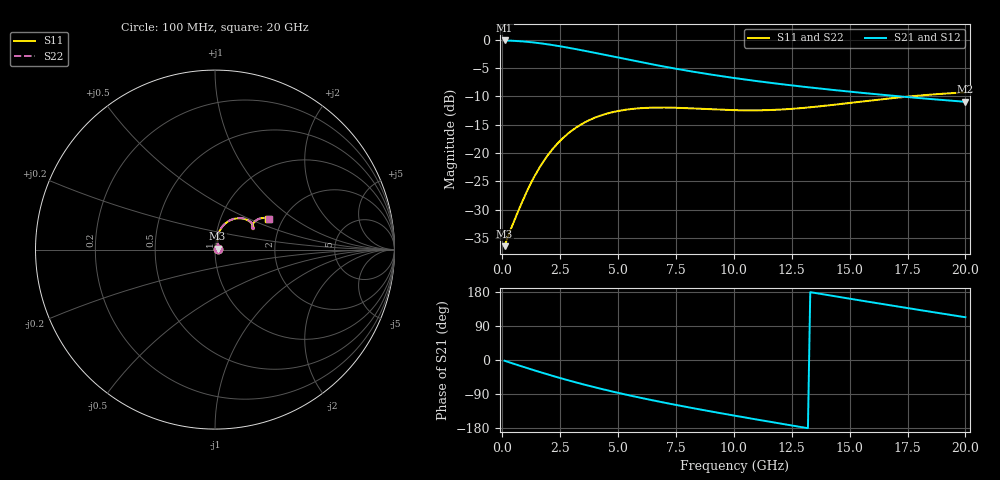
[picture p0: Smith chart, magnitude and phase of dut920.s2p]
! Touchstone file exported from HFSS 2024.1.0
!  File:  C:/UserFiles/LocalFiles/RDL_TSV_Batchsim/temp_RDL_TSV_920_1779958126.aedt
!  Generated:  05:05:48 PM May 28, 2026
!  Design:  RDL_TSV
!  Project:  temp_RDL_TSV_920_1779958126
!  Setup:  Setup1
!  Solution:  Sweep
! Variables:
!  dtsv = 5.93um
!  hbump = 3um
!  htsv = 92.49um
!  ldown = 577.3um
!  lrdl = 450.44um
!  p = 40
!  p1 = 56.07um
!  rhole = 10um
!  subl = 3533.66um
!  t = 450um
!  tdown = 4.25um
!  trdl = 3.92um
!  viad = 10um
!  wdown = 27.82um
!  wrdl = 24.4um
!  xbump = 18um
# GHz S MA R 50.000000
! Terminal data exported
! Port[1] = TM1_1_T1
! Port[2] = TM1_4_T1
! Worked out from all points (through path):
!   200 points, 100 MHz to 20 GHz, reference 50 ohm
!   highest |S21| = -0.13 dB at 100 MHz (marker M1); lowest = -11.0 dB at 20 GHz (marker M2)
!   group delay of S21, straight-line fit = 32.5 ps
!   lowest |S11| = -36.5 dB at 100 MHz (marker M3), VSWR 1.03, Z = 51.4 + j0.483 ohm
!   |S11| at or under -10 dB: start of sweep to 17.63 GHz
!   |S22| runs from -36.5 to -9.3 dB; largest |S21 - S12| = 1.4e-14
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0.1  0.01501 18.2  0.9855 -2.1  0.9855 -2.1  0.01501 18.2
! Gamma 0 0 0 0
! Port Impedance 50 0 50 0
0.4  0.02207 45.8  0.9802 -8.1  0.9802 -8.1  0.02206 45.8
1  0.04292 71.3  0.9619 -19.9  0.9619 -19.9  0.04293 71.5
1.3  0.05735 76.1  0.9485 -25.7  0.9485 -25.7  0.05741 76.2
1.7  0.07957 77.8  0.927 -33.2  0.927 -33.2  0.07972 78.0
2.1  0.1037 76.4  0.9022 -40.5  0.9022 -40.5  0.104 76.6
2.5  0.1282 73.3  0.8752 -47.6  0.8752 -47.6  0.1286 73.5
3  0.1574 68.2  0.8394 -56.1  0.8394 -56.1  0.158 68.4
3.5  0.1833 62.6  0.8027 -64.3  0.8027 -64.3  0.184 62.8
4.2  0.2123 55.0  0.7517 -75.1  0.7517 -75.1  0.2133 55.1
5.1  0.2367 46.2  0.6894 -88.1  0.6894 -88.1  0.2379 46.3
5.9  0.2479 39.8  0.6391 -98.8  0.6391 -98.8  0.2493 39.9
6.8  0.2518 34.3  0.5889 -110.2  0.5889 -110.2  0.2534 34.4
7.5  0.2506 31.2  0.5545 -118.6  0.5545 -118.6  0.2523 31.4
8.3  0.2469 29.1  0.5198 -127.8  0.5198 -127.8  0.2486 29.2
10.1  0.2385 28.4  0.4566 -147.6  0.4566 -147.6  0.2402 28.5
11.7  0.2399 31.0  0.4134 -164.5  0.4134 -164.5  0.2416 31.0
13.4  0.2543 34.1  0.3766 178.0  0.3766 178.0  0.2558 34.0
15.1  0.278 35.4  0.3463 160.8  0.3463 160.8  0.2794 35.4
16.7  0.3028 34.8  0.3223 144.9  0.3223 144.9  0.3042 34.7
18.3  0.3251 32.8  0.3017 129.2  0.3017 129.2  0.3265 32.8
20  0.3428 29.9  0.2831 112.8  0.2831 112.8  0.3443 29.9
